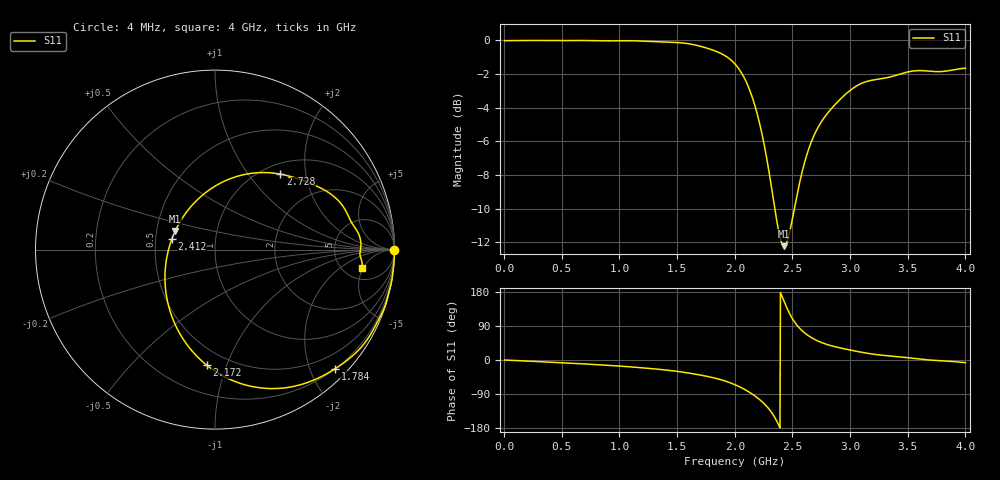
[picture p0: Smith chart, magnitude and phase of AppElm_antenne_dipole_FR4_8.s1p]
! TOUCHSTONE file generated by CST MICROWAVE STUDIO
! Date and time: Thu May 12 15:28:14 2022
! Project name: AppElm_antenne_dipole_FR4.cst
! Parameters = {L=38.8; e=0.035; f=2.45e+09; h=1.6; i=0.8; l1=4.4; lambda=122.449; ls=30; wl=1.7; ws=80}
! Header version: 2018
! Port assignment regex: !\s*Touchstone port\s*([0-9]+)\s*=\s*(CST MWS port|CST DS port)\s*([0-9]+|Zmin|Zmax)\s*\(\"(.*)\"\)(\s*mode\s*([0-9]+))?.*
! Touchstone port assignment:
! Touchstone port 1 = CST MWS port 1 ("")
# GHz S MA R 50
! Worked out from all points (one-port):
!   1000 points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, 4 MHz to 4 GHz, reference 50 ohm
!   lowest |S11| = -12.2 dB at 2.428 GHz (marker M1), VSWR 1.65, Z = 31.3 + j6.93 ohm
!   |S11| at or under -10 dB: 2.347 GHz to 2.516 GHz (169 MHz wide, 6.95 % of centre)
!   S11 on the Smith chart (normalised r, x): 4 MHz: open; 1.784 GHz: 0.20, -2.41; 2.172 GHz: 0.39, -0.85; 2.412 GHz: 0.61, +0.07; 2.728 GHz: 1.19, +1.45; 4 GHz: 7.46, -4.76
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0.004  0.9986 -0.1
0.504  0.9987 -7.2
1.004  0.9979 -16.0
1.26  0.9931 -22.3
1.504  0.9858 -30.1
1.648  0.971 -36.8
1.784  0.9427 -44.8
1.9  0.9074 -53.9
2.004  0.8498 -65.5
2.092  0.7626 -78.8
2.172  0.6447 -94.2
2.24  0.5195 -111.0
2.3  0.4013 -130.6
2.356  0.3029 -156.5
2.412  0.2477 166.6
2.428  0.2448 154.8
2.46  0.2566 132.2
2.504  0.3006 107.0
2.552  0.364 87.2
2.604  0.4323 72.0
2.66  0.4959 59.9
2.728  0.5563 49.1
2.84  0.6284 37.4
3.004  0.7122 26.1
3.164  0.7584 17.1
3.504  0.8066 5.8
3.672  0.8114 0.4
4  0.8266 -7.0
